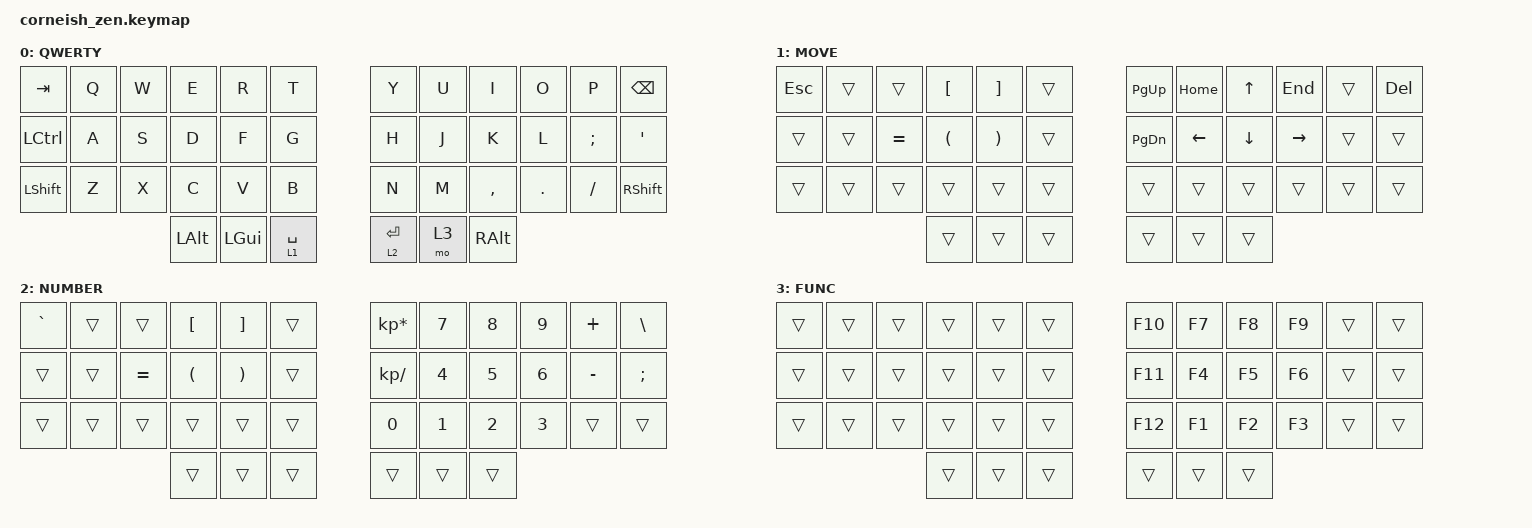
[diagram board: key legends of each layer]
#include <behaviors.dtsi>
#include <dt-bindings/zmk/keys.h>
#include <dt-bindings/zmk/bt.h>

/ {
  chosen {
    zmk,matrix_transform = &default_transform;
    //zmk,matrix_transform = &five_column_transform;
  };
};

/ {
        keymap {
                compatible = "zmk,keymap";

                default_layer {
                        label = "QWERTY";
// -----------------------------------------------------------------------------------
// |  TAB |  Q  |  W  |  E  |  R  |   T    ||   Y    |  U   |  I  |  O  |  P  | BKSP |
// | CTRL |  A  |  S  |  D  |  F  |   G    ||   H    |  J   |  K  |  L  |  ;  |  '   |
// | SHFT |  Z  |  X  |  C  |  V  |   B    ||   N    |  M   |  ,  |  .  |  /  | ESC  |
//                    | ALT | GUI | SPC(1) || ENT(2) |  L3  | ALT |
                        bindings = <
   &kp TAB   &kp Q &kp W &kp E &kp R &kp T   &kp Y &kp U  &kp I     &kp O   &kp P    &kp BSPC
   &kp LCTRL &kp A &kp S &kp D &kp F &kp G   &kp H &kp J  &kp K     &kp L   &kp SEMI &kp SQT
   &kp LSHFT &kp Z &kp X &kp C &kp V &kp B   &kp N &kp M  &kp COMMA &kp DOT &kp FSLH &kp RSHIFT
             &kp LALT &kp LGUI &lt 1 SPACE   &lt 2 RET    &mo 3     &kp RALT
                        >;
                };
                move_layer {
                        label = "MOVE";
// --------------------------------------------------------------------------------------
// | ESC  |     |     |  [{  |   ]} |     ||  PGUP  |  HOME  |  UP  |  END  |     | DEL |
// |      |     |  =+ |   (  |   )  |     ||  PGDN  |  LFT   |  DWN |  RGT  |     |     |
// |      |     |     |      |      |     ||        |        |      |       |     |     |
//                    |      |      |     ||        |        |      |
                        bindings = <
   &kp ESC &trans &trans    &kp LBKT &kp RBKT &trans   &kp PG_UP &kp HOME &kp UP   &kp END   &trans &kp DEL
   &trans  &trans &kp EQUAL &kp LPAR &kp RPAR &trans   &kp PG_DN &kp LEFT &kp DOWN &kp RIGHT &trans &trans
   &trans  &trans &trans    &trans   &trans   &trans   &trans    &trans   &trans   &trans    &trans &trans
                            &trans   &trans   &trans   &trans    &trans   &trans
                        >;
                };
                number_layer {
                        label = "NUMBER";
// ----------------------------------------------------------------------------
// |  `~  |     |     | [{  |  ]} |     ||  *  |  7  |  8  |  9  |  +  | "\|" |
// |      |     |  =+ |  (  |  )  |     ||  /  |  4  |  5  |  6  |  -  |  ;   |
// |      |     |     |     |     |     ||  0  |  1  |  2  |  3  |     |      |
//                    |     |     |     ||     |     |     |
                        bindings = <
   &kp GRAVE &trans &trans    &kp LBKT &kp RBKT &trans   &kp KP_ASTERISK &kp N7 &kp N8 &kp N9 &kp PLUS  &kp BSLH
   &trans    &trans &kp EQUAL &kp LPAR &kp RPAR &trans   &kp   KP_SLASH  &kp N4 &kp N5 &kp N6 &kp MINUS &kp SEMI
   &trans    &trans &trans    &trans   &trans   &trans   &kp      N0     &kp N1 &kp N2 &kp N3 &trans    &trans
                    	      &trans   &trans   &trans   &trans    &trans    &trans
                        >;
                };
                function_layer {
                        label = "FUNC";
// ----------------------------------------------------------------------------
// |      |     |     |     |     |     ||  F10  |  F7  |  F8  |  F9  |    |     |
// |      |     |     |     |     |     ||  F11  |  F4  |  F5  |  F6  |    |     |
// |      |     |     |     |     |     ||  F12  |  F1  |  F2  |  F3  |    |     |
//                    |     |     |     ||     |     |     |
                        bindings = <
   &trans &trans &trans &trans &trans &trans   &kp F10 &kp F7 &kp F8 &kp F9 &trans &trans
   &trans &trans &trans &trans &trans &trans   &kp F11 &kp F4 &kp F5 &kp F6 &trans &trans
   &trans &trans &trans &trans &trans &trans   &kp F12 &kp F1 &kp F2 &kp F3 &trans &trans
                        &trans &trans &trans   &trans  &trans &trans
                        >;
                };
        };
};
